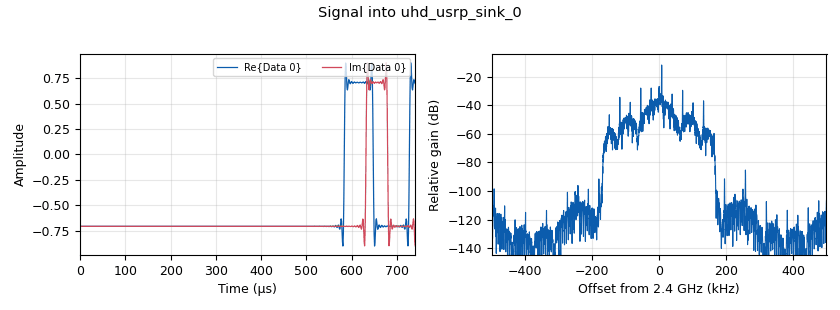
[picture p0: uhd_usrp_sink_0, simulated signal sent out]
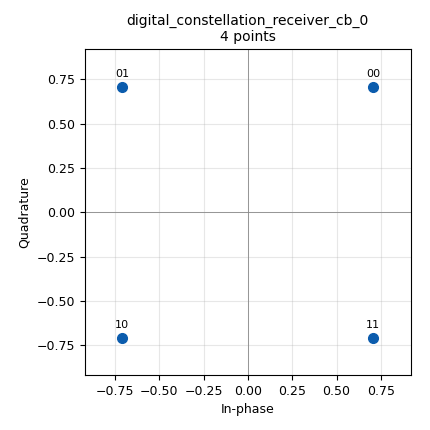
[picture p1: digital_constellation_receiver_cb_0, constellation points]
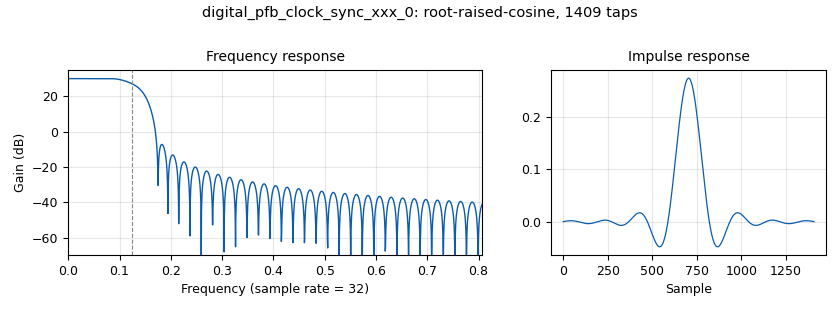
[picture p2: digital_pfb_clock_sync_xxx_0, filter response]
options:
  parameters:
    author: iar
    generate_options: qt_gui
    id: QPSK_16QAM
    output_language: python
    title: Not titled yet
  states: {}

blocks:
- name: D6_multi
  id: variable_qtgui_range
  parameters:
    label: D6 Multiple
    start: '1'
    step: '0.1'
    stop: '5'
    value: '3.4'
  states: {}
- name: MC_data
  id: variable
  parameters:
    value: list(np.repeat(SHA160,2))
  states: {}
- name: SHA160
  id: variable
  parameters:
    comment: Binary of SHA1-160 bits(I am a leigitimate device)
    value: '[1,0,1,1,0,1,1,0,1,1,1,1,1,1,0,0,1,0,1,1,0,1,0,1,1,1,1,0,1,0,1,1,0,1,1,0,1,1,1,1,1,1,0,1,0,1,1,1,0,1,0,1,1,1,1,1,1,0,0,1,1,0,0,0,0,0,0,0,0,1,0,1,0,1,1,1,1,1,0,0,0,1,0,1,1,1,0,1,1,0,0,0,1,1,0,0,1,1,1,1,1,1,0,1,1,1,0,0,1,0,0,0,0,1,0,0,0,0,0,0,1,1,0,0,0,0,0,1,0,1,1,1,0,1,0,1,0,0,1,0,0,0,1,1,1,0,1,1,0,0,0,1,1,0,1,1,0,0,0,1]'
  states: {}
- name: SHA160_10
  id: variable
  parameters:
    comment: Binary of SHA1-160 bits(I am a leigitimate device)
    value: '[1,0,1,1,1,1,1,0,1,1,1,1,1,1,0,0,1,0,1,1,0,1,0,1,1,1,1,0,1,0,1,1,0,1,1,0,1,1,1,1,1,1,0,1,0,1,1,1,0,1,0,1,1,1,1,1,1,0,0,1,1,0,1,0,0,0,0,1,0,1,0,1,0,1,1,1,1,1,0,0,0,1,0,1,1,1,0,1,1,0,0,0,1,1,0,0,1,1,1,1,1,1,0,1,1,1,0,0,1,0,0,0,0,1,0,1,0,0,1,0,1,1,0,1,0,0,1,1,0,1,1,1,0,1,0,1,0,0,1,0,1,0,1,1,1,0,1,1,0,0,0,1,1,0,1,1,0,1,1,1]'
  states: {}
- name: SHA160_20
  id: variable
  parameters:
    comment: Binary of SHA1-160 bits(I am a leigitimate device)
    value: '[1,0,1,1,0,1,1,0,1,1,1,1,1,1,0,0,1,0,1,1,0,1,0,1,1,1,1,0,1,0,1,1,0,1,1,0,1,1,1,1,1,1,0,1,0,1,1,1,0,1,0,1,1,1,1,1,1,0,0,1,1,0,0,0,0,0,0,0,0,1,0,1,0,1,1,1,1,1,0,0,0,1,0,1,1,1,0,1,1,0,0,0,1,1,0,0,1,1,1,1,1,1,0,1,1,1,0,0,1,0,0,0,0,1,0,0,0,0,0,0,1,1,0,0,0,0,0,1,0,1,1,1,0,1,0,1,0,0,1,0,0,0,1,1,1,0,1,1,0,0,0,1,1,0,1,1,0,0,0,1]'
  states: {}
- name: SHA160_30
  id: variable
  parameters:
    comment: Binary of SHA1-160 bits(I am a leigitimate device)
    value: '[1,0,1,1,0,1,1,0,1,1,1,1,1,1,0,0,1,0,1,1,0,1,0,1,1,1,1,0,1,0,1,1,0,1,1,0,1,1,1,1,1,1,0,1,0,1,1,1,0,1,0,1,1,1,1,1,1,0,0,1,1,0,0,0,0,0,0,0,0,1,0,1,0,1,1,1,1,1,0,0,0,1,0,1,1,1,0,1,1,0,0,0,1,1,0,0,1,1,1,1,1,1,0,1,1,1,0,0,1,0,0,0,0,1,0,0,0,0,0,0,1,1,0,0,0,0,0,1,0,1,1,1,0,1,0,1,0,0,1,0,0,0,1,1,1,0,1,1,0,0,0,1,1,0,1,1,0,0,0,1]'
  states: {}
- name: SHA256
  id: variable
  parameters:
    comment: Binary of SHA256(I am a leigitimate device)
    value: '[1,0,1,0,1,1,0,1,0,1,0,0,1,0,0,1,1,1,0,0,1,1,0,1,1,1,0,0,0,0,1,0,1,1,0,1,0,1,1,1,1,1,1,1,0,0,0,0,0,1,1,1,1,0,1,0,0,1,1,0,1,1,0,1,1,1,1,1,0,1,0,0,1,0,1,0,1,1,1,0,1,1,0,0,1,1,0,1,0,1,1,0,0,0,1,1,1,0,0,1,0,1,0,1,1,1,1,1,1,1,1,0,0,1,0,1,1,0,0,0,0,0,1,1,0,0,1,0,1,0,1,1,1,1,1,0,0,0,1,1,0,1,1,1,0,0,0,0,1,1,1,0,1,0,0,1,0,0,1,0,0,1,1,1,1,0,0,1,1,0,0,1,0,0,0,0,0,0,1,0,0,1,0,1,1,1,1,0,1,0,1,1,1,0,1,0,0,0,0,1,0,1,0,1,1,0,0,0,0,0,1,0,0,0,0,1,0,0,1,0,0,0,1,1,1,0,0,0,0,1,1,1,1,0,0,0,0,0,1,0,0,0,0,1,1,1,0,0,0,0,1,0,1,0,0,0]'
  states: {}
- name: arity
  id: variable
  parameters:
    value: '4'
  states: {}
- name: bits_per_clock
  id: variable
  parameters:
    value: '1'
  states: {}
- name: bits_per_pack
  id: variable
  parameters:
    value: '1'
  states: {}
- name: centerfreq
  id: variable
  parameters:
    value: 2.4e9
  states: {}
- name: clock
  id: variable
  parameters:
    value: '[0,1]*len(SHA160)'
  states: {}
- name: data
  id: variable
  parameters:
    comment: Test Data
    value: '[0]*4+[1,0,1,0]'
  states: {}
- name: data_0
  id: variable
  parameters:
    value: '[1,0,1,0]'
  states: {}
- name: delay
  id: variable_qtgui_range
  parameters:
    label: Delay
    start: '0'
    step: '1'
    stop: '200'
    value: '0'
  states: {}
- name: delay_d3
  id: variable_qtgui_range
  parameters:
    label: D3 Delay
    rangeType: int
    start: '-500'
    step: '1'
    stop: '500'
    value: '0'
  states: {}
- name: delay_d6
  id: variable_qtgui_range
  parameters:
    label: D6 Delay
    rangeType: int
    start: '-500'
    step: '1'
    stop: '500'
    value: '0'
  states: {}
- name: excess_bw
  id: variable
  parameters:
    value: '0.35'
  states: {}
- name: interval
  id: variable
  parameters:
    value: list(itertools.repeat(0, 10))
  states: {}
- name: nfilts
  id: variable
  parameters:
    value: '32'
  states: {}
- name: periodicity
  id: variable
  parameters:
    value: len(MC_data)+len(preamble)
  states: {}
- name: phase_bw
  id: variable_qtgui_range
  parameters:
    label: 'Phase: Bandwidth'
    start: '0.0'
    step: '0.01'
    stop: '1.0'
    value: 6.28/100.0
    widget: slider
  states: {}
- name: preamble
  id: variable
  parameters:
    value: '[0x70, 0x72, 0x65, 0x61, 0x6D, 0x62, 0x6C, 0x65]+[0]*50'
  states: {}
- name: qpsk
  id: variable_constellation_rect
  parameters:
    const_points: '[0.707+0.707j, -0.707+0.707j, -0.707-0.707j, 0.707-0.707j]'
    imag_sect: '2'
    real_sect: '2'
    rot_sym: '4'
    sym_map: '[0, 1, 2, 3]'
    w_imag_sect: '1'
    w_real_sect: '1'
  states: {}
- name: rrc_taps
  id: variable
  parameters:
    value: firdes.root_raised_cosine(nfilts, nfilts, 1.0/float(sps), 0.35, 11*sps*nfilts)
  states: {}
- name: samp_rate
  id: variable
  parameters:
    value: 1e6
  states: {}
- name: sps
  id: variable
  parameters:
    value: '4'
  states: {}
- name: tag_clock
  id: variable_tag_object
  parameters:
    key: pmt.intern("clock")
    offset: '0'
    src: pmt.intern("vecsrc")
    value: pmt.intern("0")
  states: {}
- name: tag_message
  id: variable_tag_object
  parameters:
    key: pmt.intern("t0")
    offset: '0'
    src: pmt.intern("vecsrc")
    value: pmt.intern("message start")
  states: {}
- name: timing_loop_bw
  id: variable_qtgui_range
  parameters:
    label: 'Time: BW'
    start: '0.0'
    step: '0.01'
    stop: '0.2'
    value: 6.28/100.0
    widget: slider
  states: {}
- name: variable_adaptive_algorithm
  id: variable_adaptive_algorithm
  parameters:
    cons: qpsk
    modulus: '4'
    step_size: '.0001'
    type: cma
  states: {}
- name: blocks_char_to_float_0_0
  id: blocks_char_to_float
  parameters:
    scale: '1'
  states: {}
- name: blocks_char_to_float_0_0_0
  id: blocks_char_to_float
  parameters:
    scale: '1'
  states: {}
- name: blocks_char_to_float_0_0_1
  id: blocks_char_to_float
  parameters:
    scale: '1'
  states: {}
- name: blocks_char_to_float_0_0_1_0
  id: blocks_char_to_float
  parameters:
    scale: '1'
  states: {}
- name: blocks_delay_0
  id: blocks_delay
  parameters:
    delay: int(delay)
    type: float
  states: {}
- name: blocks_delay_0_0
  id: blocks_delay
  parameters:
    delay: delay_d6
    type: complex
  states: {}
- name: blocks_delay_0_0_0
  id: blocks_delay
  parameters:
    delay: delay_d3
    type: complex
  states: {}
- name: blocks_file_sink_0
  id: blocks_file_sink
  parameters:
    file: /home/iar/Desktop/XXC_In-Band-USRP/Attacker_TX_RX/XXC/Constellation/Data/0722/D5_attacker_7
    type: complex
  states: {state: disabled}
- name: blocks_file_sink_0_0
  id: blocks_file_sink
  parameters:
    file: /home/iar/Desktop/XXC_In-Band-USRP/Attacker_TX_RX/XXC/Constellation/Data/0722/D5_TX
    type: complex
  states: {state: disabled}
- name: blocks_file_sink_1
  id: blocks_file_sink
  parameters:
    file: /home/iar/Desktop/XXC_In-Band-USRP/Attacker_TX_RX/XXC/Constellation/Data/0722/D6_attacker_7
    type: complex
  states: {state: disabled}
- name: blocks_file_sink_1_0
  id: blocks_file_sink
  parameters:
    file: /home/iar/Desktop/XXC_In-Band-USRP/Attacker_TX_RX/XXC/Constellation/Data/0722/D3_attacker_7
    type: complex
  states: {state: disabled}
- name: blocks_file_sink_1_0_0
  id: blocks_file_sink
  parameters:
    file: /home/iar/Desktop/XXC_In-Band-USRP/Attacker_TX_RX/XXC/Constellation/Data/0722/D3_TX
    type: complex
  states: {state: disabled}
- name: blocks_file_sink_1_1
  id: blocks_file_sink
  parameters:
    file: /home/iar/Desktop/XXC_In-Band-USRP/Attacker_TX_RX/XXC/Constellation/Data/0722/D6_TX
    type: complex
  states: {state: disabled}
- name: blocks_multiply_const_vxx_0
  id: blocks_multiply_const_vxx
  parameters:
    const: '0.85'
    type: complex
  states: {}
- name: blocks_multiply_const_vxx_0_0
  id: blocks_multiply_const_vxx
  parameters:
    const: '1'
    type: complex
  states: {}
- name: blocks_unpack_k_bits_bb_0
  id: blocks_unpack_k_bits_bb
  parameters:
    k: '2'
  states: {}
- name: blocks_unpack_k_bits_bb_0_0
  id: blocks_unpack_k_bits_bb
  parameters:
    k: '8'
  states: {}
- name: blocks_unpack_k_bits_bb_0_0_0
  id: blocks_unpack_k_bits_bb
  parameters:
    k: bits_per_clock
  states: {}
- name: blocks_unpack_k_bits_bb_0_0_1
  id: blocks_unpack_k_bits_bb
  parameters:
    k: bits_per_pack
  states: {}
- name: blocks_unpack_k_bits_bb_0_1
  id: blocks_unpack_k_bits_bb
  parameters:
    k: '2'
  states: {}
- name: blocks_unpack_k_bits_bb_0_1_0
  id: blocks_unpack_k_bits_bb
  parameters:
    k: '2'
  states: {}
- name: blocks_vector_insert_x_0
  id: blocks_vector_insert_x
  parameters:
    offset: '0'
    period: periodicity
    type: byte
    vector: preamble
  states: {}
- name: blocks_vector_insert_x_0_0
  id: blocks_vector_insert_x
  parameters:
    offset: '0'
    period: periodicity+len(interval)
    type: byte
    vector: interval
  states: {}
- name: blocks_vector_source_x_0
  id: blocks_vector_source_x
  parameters:
    repeat: 'True'
    tags: '[tag_message]'
    type: byte
    vector: MC_data
  states: {}
- name: blocks_vector_source_x_0_0
  id: blocks_vector_source_x
  parameters:
    comment: 'TX: transmitting bit'
    repeat: 'True'
    type: byte
    vector: preamble+data
  states: {state: disabled}
- name: blocks_vector_source_x_0_0_0
  id: blocks_vector_source_x
  parameters:
    repeat: 'True'
    tags: '[tag_clock]'
    type: byte
    vector: '[int(x) for x in clock]'
  states: {}
- name: blocks_xor_xx_0
  id: blocks_xor_xx
  parameters:
    type: byte
  states: {}
- name: digital_constellation_modulator_0
  id: digital_constellation_modulator
  parameters:
    constellation: qpsk
    differential: 'True'
    excess_bw: excess_bw
    samples_per_symbol: sps
  states: {}
- name: digital_constellation_receiver_cb_0
  id: digital_constellation_receiver_cb
  parameters:
    constellation: qpsk
    fmax: '0'
    fmin: '0'
    loop_bw: excess_bw
  states: {}
- name: digital_constellation_receiver_cb_0_0
  id: digital_constellation_receiver_cb
  parameters:
    constellation: qpsk
    fmax: '0'
    fmin: '0'
    loop_bw: excess_bw
  states: {}
- name: digital_constellation_receiver_cb_0_0_0
  id: digital_constellation_receiver_cb
  parameters:
    constellation: qpsk
    fmax: '0'
    fmin: '0'
    loop_bw: excess_bw
  states: {}
- name: digital_costas_loop_cc_0
  id: digital_costas_loop_cc
  parameters:
    order: arity
    w: phase_bw
  states: {}
- name: digital_costas_loop_cc_0_0
  id: digital_costas_loop_cc
  parameters:
    order: arity
    w: phase_bw
  states: {}
- name: digital_costas_loop_cc_0_0_0
  id: digital_costas_loop_cc
  parameters:
    order: arity
    w: phase_bw
  states: {}
- name: digital_diff_decoder_bb_0
  id: digital_diff_decoder_bb
  parameters:
    coding: digital.DIFF_DIFFERENTIAL
    modulus: '4'
  states: {}
- name: digital_diff_decoder_bb_0_0
  id: digital_diff_decoder_bb
  parameters:
    coding: digital.DIFF_DIFFERENTIAL
    modulus: '4'
  states: {}
- name: digital_diff_decoder_bb_0_0_0
  id: digital_diff_decoder_bb
  parameters:
    coding: digital.DIFF_DIFFERENTIAL
    modulus: '4'
  states: {}
- name: digital_linear_equalizer_0
  id: digital_linear_equalizer
  parameters:
    alg: variable_adaptive_algorithm
    num_taps: '15'
    sps: '2'
    training_sequence: preamble
  states: {}
- name: digital_linear_equalizer_0_0
  id: digital_linear_equalizer
  parameters:
    alg: variable_adaptive_algorithm
    num_taps: '15'
    sps: '2'
    training_sequence: preamble
  states: {}
- name: digital_linear_equalizer_0_0_0
  id: digital_linear_equalizer
  parameters:
    alg: variable_adaptive_algorithm
    num_taps: '15'
    sps: '2'
    training_sequence: preamble
  states: {}
- name: digital_map_bb_0
  id: digital_map_bb
  parameters:
    map: '[0,1,2,3]'
  states: {}
- name: digital_map_bb_0_0
  id: digital_map_bb
  parameters:
    map: '[0,1,2,3]'
  states: {}
- name: digital_map_bb_0_0_0
  id: digital_map_bb
  parameters:
    map: '[0,1,2,3]'
  states: {}
- name: digital_pfb_clock_sync_xxx_0
  id: digital_pfb_clock_sync_xxx
  parameters:
    filter_size: nfilts
    init_phase: nfilts/2
    loop_bw: timing_loop_bw
    max_dev: '1.5'
    osps: '2'
    sps: sps
    taps: rrc_taps
    type: ccf
  states: {}
- name: digital_pfb_clock_sync_xxx_0_0
  id: digital_pfb_clock_sync_xxx
  parameters:
    filter_size: nfilts
    init_phase: nfilts/2
    loop_bw: timing_loop_bw
    max_dev: '1.5'
    osps: '2'
    sps: sps
    taps: rrc_taps
    type: ccf
  states: {}
- name: digital_pfb_clock_sync_xxx_0_0_0
  id: digital_pfb_clock_sync_xxx
  parameters:
    filter_size: nfilts
    init_phase: nfilts/2
    loop_bw: timing_loop_bw
    max_dev: '1.5'
    osps: '2'
    sps: sps
    taps: rrc_taps
    type: ccf
  states: {}
- name: import_0
  id: import
  parameters:
    imports: import math
  states: {}
- name: import_0_0
  id: import
  parameters:
    imports: import numpy as np
  states: {}
- name: import_0_0_0_0
  id: import
  parameters:
    imports: from gnuradio import digital
  states: {}
- name: import_0_0_1
  id: import
  parameters:
    imports: import random
  states: {}
- name: import_0_1_0_0
  id: import
  parameters:
    imports: import itertools
  states: {}
- name: note_0
  id: note
  parameters:
    comment: |-
      The CMA equalizer has been
      replaced by a Linear Equalizer
      and an Adaptive Algorithm for
      version 3.9
    note: CMA equalizer replaced
  states: {}
- name: qtgui_const_sink_x_0
  id: qtgui_const_sink_x
  parameters:
    name: '"D5 constellation after processing"'
    size: '1024'
    type: complex
  states: {}
- name: qtgui_const_sink_x_0_1
  id: qtgui_const_sink_x
  parameters:
    name: '"D6 constellation after processing"'
    size: '1024'
    type: complex
  states: {}
- name: qtgui_const_sink_x_0_1_0
  id: qtgui_const_sink_x
  parameters:
    name: '"D3 constellation after processing"'
    size: '1024'
    type: complex
  states: {}
- name: qtgui_freq_sink_x_0
  id: qtgui_freq_sink_x
  parameters:
    bw: samp_rate
    fc: '0'
    fftsize: '1024'
    type: complex
  states: {}
- name: qtgui_freq_sink_x_0_0_0
  id: qtgui_freq_sink_x
  parameters:
    bw: samp_rate
    fc: '0'
    fftsize: '2048'
    label1: D5
    label2: D6
    label3: D3
    name: Recevied Frequency Compare
    nconnections: '3'
    type: complex
  states: {}
- name: qtgui_time_sink_x_0_0
  id: qtgui_time_sink_x
  parameters:
    gui_hint: 2,1,1,1
    label1: D5
    label2: Tx Bits
    label3: D6
    label4: D3
    name: ''
    nconnections: '4'
    size: '128'
    srate: samp_rate
    tr_mode: qtgui.TRIG_MODE_AUTO
    type: float
    ymax: '2'
  states: {}
- name: uhd_usrp_sink_0
  id: uhd_usrp_sink
  parameters:
    ant0: '"TX/RX"'
    bw0: 22e6
    center_freq0: centerfreq
    dev_addr: '"addr = 192.168.10.4"'
    gain0: '1'
    gain_type0: normalized
    samp_rate: samp_rate
    sync: pc_clock
    type: fc32
  states: {}
- name: uhd_usrp_sink_0_0
  id: uhd_usrp_sink
  parameters:
    ant0: '"TX/RX"'
    bw0: 22e6
    center_freq0: centerfreq
    dev_addr: '"addr = 192.168.10.7"'
    gain0: '0.95'
    gain_type0: normalized
    samp_rate: samp_rate
    sync: pc_clock
    type: fc32
  states: {state: disabled}
- name: uhd_usrp_source_0
  id: uhd_usrp_source
  parameters:
    ant0: '"TX/RX"'
    bw0: 22e6
    center_freq0: centerfreq
    dev_addr: '"addr = 192.168.10.5"'
    gain0: '1'
    gain_type0: normalized
    samp_rate: samp_rate
    sync: pc_clock
    type: fc32
  states: {}
- name: uhd_usrp_source_0_0
  id: uhd_usrp_source
  parameters:
    ant0: '"TX/RX"'
    bw0: 22e6
    center_freq0: centerfreq
    dev_addr: '"addr = 192.168.10.6"'
    gain0: '1'
    gain_type0: normalized
    samp_rate: samp_rate
    sync: pc_clock
    type: fc32
  states: {}
- name: uhd_usrp_source_0_0_0
  id: uhd_usrp_source
  parameters:
    ant0: '"TX/RX"'
    bw0: 22e6
    center_freq0: centerfreq
    dev_addr: '"addr = 192.168.10.3"'
    gain0: '0.8'
    gain_type0: normalized
    samp_rate: samp_rate
    sync: pc_clock
    type: fc32
  states: {}

connections:
- [blocks_char_to_float_0_0, '0', qtgui_time_sink_x_0_0, '0']
- [blocks_char_to_float_0_0_0, '0', blocks_delay_0, '0']
- [blocks_char_to_float_0_0_1, '0', qtgui_time_sink_x_0_0, '2']
- [blocks_char_to_float_0_0_1_0, '0', qtgui_time_sink_x_0_0, '3']
- [blocks_delay_0, '0', qtgui_time_sink_x_0_0, '1']
- [blocks_delay_0_0, '0', blocks_file_sink_1, '0']
- [blocks_delay_0_0, '0', blocks_file_sink_1_1, '0']
- [blocks_delay_0_0, '0', digital_constellation_receiver_cb_0_0, '0']
- [blocks_delay_0_0, '0', qtgui_const_sink_x_0_1, '0']
- [blocks_delay_0_0, '0', qtgui_freq_sink_x_0_0_0, '1']
- [blocks_delay_0_0_0, '0', blocks_file_sink_1_0, '0']
- [blocks_delay_0_0_0, '0', blocks_file_sink_1_0_0, '0']
- [blocks_delay_0_0_0, '0', digital_constellation_receiver_cb_0_0_0, '0']
- [blocks_delay_0_0_0, '0', qtgui_const_sink_x_0_1_0, '0']
- [blocks_delay_0_0_0, '0', qtgui_freq_sink_x_0_0_0, '2']
- [blocks_multiply_const_vxx_0, '0', blocks_delay_0_0, '0']
- [blocks_multiply_const_vxx_0_0, '0', blocks_delay_0_0_0, '0']
- [blocks_unpack_k_bits_bb_0, '0', blocks_char_to_float_0_0, '0']
- [blocks_unpack_k_bits_bb_0_0, '0', blocks_char_to_float_0_0_0, '0']
- [blocks_unpack_k_bits_bb_0_0_0, '0', blocks_xor_xx_0, '1']
- [blocks_unpack_k_bits_bb_0_0_1, '0', blocks_xor_xx_0, '0']
- [blocks_unpack_k_bits_bb_0_1, '0', blocks_char_to_float_0_0_1, '0']
- [blocks_unpack_k_bits_bb_0_1_0, '0', blocks_char_to_float_0_0_1_0, '0']
- [blocks_vector_insert_x_0, '0', blocks_vector_insert_x_0_0, '0']
- [blocks_vector_insert_x_0_0, '0', blocks_unpack_k_bits_bb_0_0, '0']
- [blocks_vector_insert_x_0_0, '0', digital_constellation_modulator_0, '0']
- [blocks_vector_source_x_0, '0', blocks_unpack_k_bits_bb_0_0_1, '0']
- [blocks_vector_source_x_0_0_0, '0', blocks_unpack_k_bits_bb_0_0_0, '0']
- [blocks_xor_xx_0, '0', blocks_vector_insert_x_0, '0']
- [digital_constellation_modulator_0, '0', uhd_usrp_sink_0, '0']
- [digital_constellation_modulator_0, '0', uhd_usrp_sink_0_0, '0']
- [digital_constellation_receiver_cb_0, '0', digital_diff_decoder_bb_0, '0']
- [digital_constellation_receiver_cb_0_0, '0', digital_diff_decoder_bb_0_0, '0']
- [digital_constellation_receiver_cb_0_0_0, '0', digital_diff_decoder_bb_0_0_0, '0']
- [digital_costas_loop_cc_0, '0', blocks_file_sink_0, '0']
- [digital_costas_loop_cc_0, '0', blocks_file_sink_0_0, '0']
- [digital_costas_loop_cc_0, '0', digital_constellation_receiver_cb_0, '0']
- [digital_costas_loop_cc_0, '0', qtgui_const_sink_x_0, '0']
- [digital_costas_loop_cc_0, '0', qtgui_freq_sink_x_0_0_0, '0']
- [digital_costas_loop_cc_0_0, '0', blocks_multiply_const_vxx_0, '0']
- [digital_costas_loop_cc_0_0_0, '0', blocks_multiply_const_vxx_0_0, '0']
- [digital_diff_decoder_bb_0, '0', digital_map_bb_0, '0']
- [digital_diff_decoder_bb_0_0, '0', digital_map_bb_0_0, '0']
- [digital_diff_decoder_bb_0_0_0, '0', digital_map_bb_0_0_0, '0']
- [digital_linear_equalizer_0, '0', digital_costas_loop_cc_0, '0']
- [digital_linear_equalizer_0_0, '0', digital_costas_loop_cc_0_0, '0']
- [digital_linear_equalizer_0_0_0, '0', digital_costas_loop_cc_0_0_0, '0']
- [digital_map_bb_0, '0', blocks_unpack_k_bits_bb_0, '0']
- [digital_map_bb_0_0, '0', blocks_unpack_k_bits_bb_0_1, '0']
- [digital_map_bb_0_0_0, '0', blocks_unpack_k_bits_bb_0_1_0, '0']
- [digital_pfb_clock_sync_xxx_0, '0', digital_linear_equalizer_0, '0']
- [digital_pfb_clock_sync_xxx_0_0, '0', digital_linear_equalizer_0_0, '0']
- [digital_pfb_clock_sync_xxx_0_0_0, '0', digital_linear_equalizer_0_0_0, '0']
- [uhd_usrp_source_0, '0', digital_pfb_clock_sync_xxx_0, '0']
- [uhd_usrp_source_0, '0', qtgui_freq_sink_x_0, '0']
- [uhd_usrp_source_0_0, '0', digital_pfb_clock_sync_xxx_0_0, '0']
- [uhd_usrp_source_0_0_0, '0', digital_pfb_clock_sync_xxx_0_0_0, '0']

metadata:
  file_format: 1
